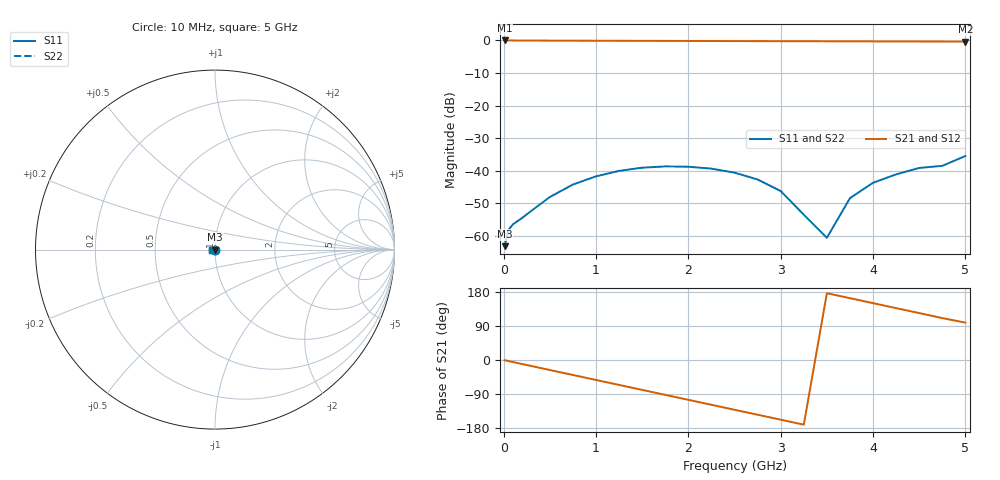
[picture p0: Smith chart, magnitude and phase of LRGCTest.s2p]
# GHz S DB R 50
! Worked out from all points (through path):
!   24 points, 10 MHz to 5 GHz, reference 50 ohm
!   highest |S21| = -0.01 dB at 10 MHz (marker M1); lowest = -0.4 dB at 5 GHz (marker M2)
!   group delay of S21, straight-line fit = 146 ps
!   lowest |S11| = -63.1 dB at 10 MHz (marker M3), VSWR 1.00, Z = 50.1 + j0.0321 ohm
!   |S11| at or under -10 dB: start of sweep to end of sweep
!   |S22| runs from -63.1 to -35.4 dB; largest |S21 - S12| = 0
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0.01  -63.09 27.2  -0.01 -0.6  -0.01 -0.6  -63.09 27.2
0.05  -58.18 23.2  -0.01 -2.7  -0.01 -2.7  -58.18 23.2
0.1  -56.40 8.1  -0.02 -5.3  -0.02 -5.3  -56.40 8.1
0.5  -48.01 -81.3  -0.06 -26.4  -0.06 -26.4  -48.01 -81.3
0.75  -44.19 -107.3  -0.07 -39.6  -0.07 -39.6  -44.19 -107.3
1  -41.68 -126.5  -0.09 -52.7  -0.09 -52.7  -41.68 -126.5
1.25  -40.00 -143.2  -0.11 -65.8  -0.11 -65.8  -40.00 -143.2
1.5  -39.03 -158.4  -0.13 -78.9  -0.13 -78.9  -39.03 -158.4
1.75  -38.63 -174.1  -0.14 -92.0  -0.14 -92.0  -38.63 -174.1
2  -38.73 -188.3  -0.16 -105.1  -0.16 -105.1  -38.73 -188.3
2.25  -39.31 -201.8  -0.18 -118.2  -0.18 -118.2  -39.31 -201.8
2.5  -40.55 -215.0  -0.20 -131.3  -0.20 -131.3  -40.55 -215.0
2.75  -42.64 -227.8  -0.21 -144.5  -0.21 -144.5  -42.64 -227.8
3  -46.19 -240.0  -0.23 -157.6  -0.23 -157.6  -46.19 -240.0
3.25  -53.44 -247.6  -0.25 -170.7  -0.25 -170.7  -53.44 -247.6
3.5  -60.52 -115.4  -0.26 -183.8  -0.26 -183.8  -60.52 -115.4
3.75  -48.36 -110.3  -0.28 -196.9  -0.28 -196.9  -48.36 -110.3
4  -43.65 -120.7  -0.30 -210.0  -0.30 -210.0  -43.65 -120.7
4.25  -41.07 -133.1  -0.31 -223.2  -0.31 -223.2  -41.07 -133.1
4.5  -39.10 -145.8  -0.33 -236.2  -0.33 -236.2  -39.10 -145.8
4.75  -38.46 -158.8  -0.34 -249.4  -0.34 -249.4  -38.46 -158.8
5  -35.44 -170.9  -0.36 -261.4  -0.36 -261.4  -35.44 -170.9
